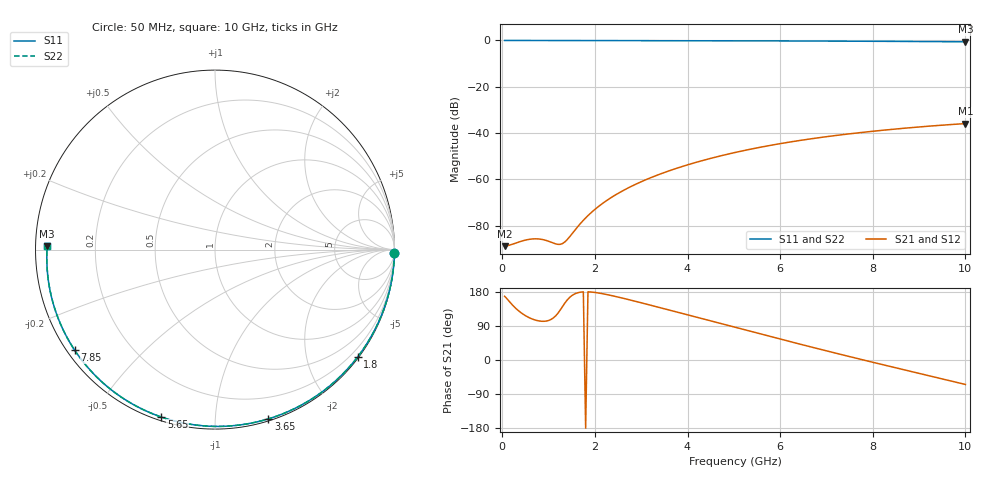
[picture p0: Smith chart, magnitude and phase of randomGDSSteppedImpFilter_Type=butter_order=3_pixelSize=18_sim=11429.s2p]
! freq	dB(S11)	phase(S11)	dB(S12)	phase(S12)
!  dB(S21)	phase(S21)	dB(S22)	phase(S22)
!S-par simulation data
#  GHz  S  DB  R 50
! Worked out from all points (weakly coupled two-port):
!   200 points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, 50 MHz to 10 GHz, reference 50 ohm
!   highest |S21| = -35.89 dB at 10 GHz (marker M1); lowest = -88.8 dB at 50 MHz (marker M2)
!   lowest |S11| = -0.6 dB at 10 GHz (marker M3), VSWR 29.81, Z = 1.68 + j0.494 ohm
!   |S11| at or under -10 dB: nowhere
!   |S22| runs from -0.6 to 0.0 dB; largest |S21 - S12| = 0
!   S11 on the Smith chart (normalised r, x): 50 MHz: open; 1.8 GHz: 0.03, -3.00; 3.65 GHz: 0.02, -1.36; 5.65 GHz: 0.02, -0.73; 7.85 GHz: 0.02, -0.32; 10 GHz: 0.03, +0.01
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0.05  -0.00 -1.0  -88.79 168.2  -88.79 168.2  -0.00 -1.0
0.4  -0.01 -8.3  -86.72 125.2  -86.72 125.2  -0.01 -8.3
0.8  -0.02 -16.6  -85.71 102.9  -85.71 102.9  -0.02 -16.6
1.6  -0.04 -32.9  -81.07 176.3  -81.07 176.3  -0.04 -32.9
1.65  -0.04 -33.9  -79.87 178.1  -79.87 178.1  -0.04 -33.9
1.75  -0.05 -35.9  -77.63 179.9  -77.63 179.9  -0.05 -35.9
1.8  -0.05 -36.9  -76.59 -179.9  -76.59 -179.9  -0.05 -36.9
2.1  -0.05 -42.8  -71.31 176.4  -71.31 176.4  -0.05 -42.8
2.45  -0.06 -49.7  -66.60 167.6  -66.60 167.6  -0.06 -49.7
2.9  -0.08 -58.4  -61.88 154.1  -61.88 154.1  -0.08 -58.4
3.4  -0.09 -67.8  -57.72 138.4  -57.72 138.4  -0.09 -67.8
3.65  -0.10 -72.5  -55.94 130.4  -55.94 130.4  -0.10 -72.5
4.35  -0.12 -85.2  -51.69 108.0  -51.69 108.0  -0.12 -85.2
5.05  -0.15 -97.5  -48.25 85.6  -48.25 85.6  -0.15 -97.5
5.65  -0.18 -107.8  -45.79 66.4  -45.79 66.4  -0.18 -107.8
6.15  -0.21 -116.2  -44.03 50.6  -44.03 50.6  -0.21 -116.2
6.7  -0.24 -125.4  -42.35 33.4  -42.35 33.4  -0.24 -125.3
7.3  -0.29 -135.3  -40.77 15.0  -40.77 15.0  -0.29 -135.2
7.85  -0.34 -144.3  -39.51 -1.5  -39.51 -1.5  -0.34 -144.3
8.35  -0.39 -152.6  -38.49 -16.3  -38.49 -16.3  -0.39 -152.6
9.2  -0.48 -167.0  -37.01 -41.2  -37.01 -41.2  -0.48 -167.0
10  -0.58 178.9  -35.89 -64.5  -35.89 -64.5  -0.58 178.9
